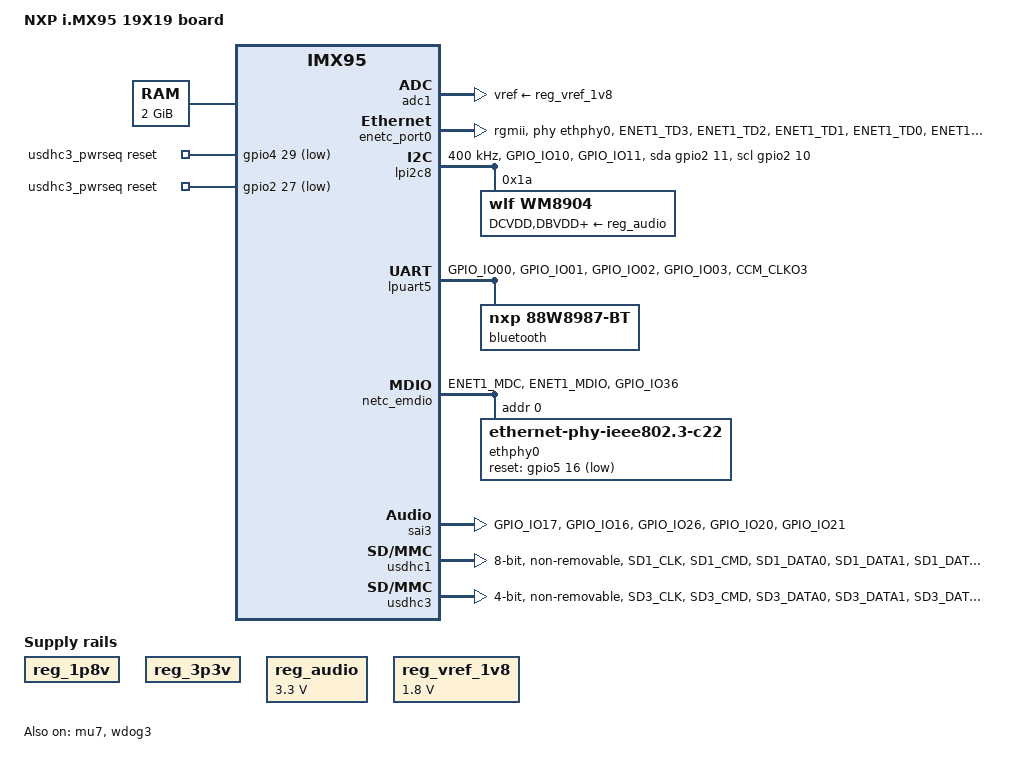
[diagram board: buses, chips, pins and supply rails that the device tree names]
// SPDX-License-Identifier: (GPL-2.0+ OR MIT)
/*
 * Copyright 2023 NXP
 * Copyright 2024 Variscite Ltd.
 */

/dts-v1/;

#include <dt-bindings/phy/phy-imx8-pcie.h>
#include <dt-bindings/usb/pd.h>
#include <dt-bindings/net/mxl-8611x.h>
#include "imx95.dtsi"

#define FALLING_EDGE		BIT(0)
#define RISING_EDGE		BIT(1)

/ {
	model = "NXP i.MX95 19X19 board";
	compatible = "fsl,imx95-19x19-evk", "fsl,imx95";

	cm7: imx95-cm7 {
		compatible = "fsl,imx95-cm7";
		mbox-names = "tx", "rx", "rxdb";
		mboxes = <&mu7 0 1
			  &mu7 1 1
			  &mu7 3 1>;
		memory-region = <&vdevbuffer>, <&vdev0vring0>, <&vdev0vring1>,
				<&vdev1vring0>, <&vdev1vring1>, <&rsc_table>;
		fsl,startup-delay-ms = <50>;
		status = "okay";
	};

	memory@80000000 {
		device_type = "memory";
		reg = <0x0 0x80000000 0 0x80000000>;
	};

	reg_1p8v: regulator-1p8v {
		compatible = "regulator-fixed";
		regulator-name = "+V1.8_SW";
	};

	reg_3p3v: regulator-3p3v {
		compatible = "regulator-fixed";
		regulator-name = "+V3.3_SW";
	};

	reg_audio: regulator-audio-vdd {
		compatible = "regulator-fixed";
		regulator-name = "wm8904_supply";
		regulator-min-microvolt = <3300000>;
		regulator-max-microvolt = <3300000>;
		regulator-always-on;
	};

	reg_vref_1v8: regulator-adc-vref {
		compatible = "regulator-fixed";
		regulator-name = "vref_1v8";
		regulator-min-microvolt = <1800000>;
		regulator-max-microvolt = <1800000>;
	};

	reserved-memory {
		#address-cells = <2>;
		#size-cells = <2>;
		ranges;

		linux_cma: linux,cma {
			compatible = "shared-dma-pool";
			reusable;
			size = <0 0x3c000000>;
			alloc-ranges = <0 0x80000000 0 0x7F000000>;
			linux,cma-default;
		};

		vpu_boot: vpu_boot@a0000000 {
			reg = <0 0xa0000000 0 0x100000>;
			no-map;
		};

		vdev0vring0: vdev0vring0@88000000 {
			reg = <0 0x88000000 0 0x8000>;
			no-map;
		};

		vdev0vring1: vdev0vring1@88008000 {
			reg = <0 0x88008000 0 0x8000>;
			no-map;
		};

		vdev1vring0: vdev1vring0@88010000 {
			reg = <0 0x88010000 0 0x8000>;
			no-map;
		};

		vdev1vring1: vdev1vring1@88018000 {
			reg = <0 0x88018000 0 0x8000>;
			no-map;
		};

		rsc_table: rsc-table@88220000 {
			reg = <0 0x88220000 0 0x1000>;
			no-map;
		};

		vdevbuffer: vdevbuffer@88020000 {
			compatible = "shared-dma-pool";
			reg = <0 0x88020000 0 0x100000>;
			no-map;
		};
	};

	sound-wm8904 {
		compatible = "simple-audio-card";
		simple-audio-card,bitclock-master = <&dailink_master>;
		simple-audio-card,format = "i2s";
		simple-audio-card,frame-master = <&dailink_master>;
		simple-audio-card,name = "wm8904-audio";
		simple-audio-card,routing =
			"Headphone Jack", "HPOUTL",
			"Headphone Jack", "HPOUTR",
			"IN2L", "Line In Jack",
			"IN2R", "Line In Jack",
			"IN1L", "Microphone Jack",
			"IN1R", "Microphone Jack";
		simple-audio-card,widgets =
			"Microphone", "Microphone Jack",
			"Headphone", "Headphone Jack",
			"Line", "Line In Jack";
		simple-audio-card,mclk-fs = <256>;

		dailink_master: simple-audio-card,codec {
			sound-dai = <&wm8904>;
		};

		simple-audio-card,cpu {
			sound-dai = <&sai3>;
		};
	};

	usdhc3_pwrseq: usdhc3_pwrseq {
		compatible = "mmc-pwrseq-simple";
		post-power-on-delay-ms = <100>;
		power-off-delay-us = <10000>;
		reset-gpios = <&gpio4 29 GPIO_ACTIVE_LOW>,	/* WIFI_RESET */
			      <&gpio2 27 GPIO_ACTIVE_LOW>;	/* WIFI_PWR_EN */
		status = "okay";
	};
};

&adc1 {
	vref-supply = <&reg_vref_1v8>;
	status = "okay";
};

&enetc_port0 {
	pinctrl-names = "default";
	pinctrl-0 = <&pinctrl_enetc0>;
	phy-handle = <&ethphy0>;
	phy-mode = "rgmii";
	status = "okay";
};

&lpi2c8 {
	#address-cells = <1>;
	#size-cells = <0>;
	clock-frequency = <400000>;
	pinctrl-names = "default","gpio","sleep";
	pinctrl-0 = <&pinctrl_lpi2c8>;
	pinctrl-1 = <&pinctrl_lpi2c8_gpio>;
	pinctrl-2 = <&pinctrl_lpi2c8_gpio>;
	scl-gpios = <&gpio2 10 GPIO_ACTIVE_HIGH>;
	sda-gpios = <&gpio2 11 GPIO_ACTIVE_HIGH>;
	status = "okay";

	wm8904: codec@1a {
		compatible = "wlf,wm8904";
		#sound-dai-cells = <0>;
		reg = <0x1a>;
		clocks = <&scmi_clk IMX95_CLK_SAI3>;
		clock-names = "mclk";
		DCVDD-supply = <&reg_audio>;
		DBVDD-supply = <&reg_audio>;
		AVDD-supply = <&reg_audio>;
		CPVDD-supply = <&reg_audio>;
		MICVDD-supply = <&reg_audio>;
		num-drc-cfgs = <5>;
		drc-cfg-names = "default", "peaklimiter", "tradition", "soft", "music";
		drc-cfg-regs =
				/* coded default: KNEE_IP = KNEE_OP = 0, HI_COMP = LO_COMP = 1  */
				<0x01af 0x3248 0x0000 0x0000>,
				/* coded default: KNEE_IP = -24, KNEE_OP = -6, HI_COMP = 1/4, LO_COMP = 1 */
				<0x04af 0x324b 0x0010 0x0408>,
				/* coded default: KNEE_IP = -42, KNEE_OP = -3, HI_COMP = 0, LO_COMP = 1 */
				<0x04af 0x324b 0x0028 0x0704>,
				/* coded default: KNEE_IP = -45, KNEE_OP = -9, HI_COMP = 1/8, LO_COMP = 1 */
				<0x04af 0x324b 0x0018 0x078c>,
				/* coded default: KNEE_IP = -30, KNEE_OP = -10.5, HI_COMP = 1/4, LO_COMP = 1 */
				<0x04af 0x324b 0x0010 0x050e>;
		gpio-cfg = <
			0x0018 /* GPIO1 => DMIC_CLK */
			0xffff /* GPIO2 => don't touch */
			0xffff /* GPIO3 => don't touch */
			0xffff /* GPIO4 => don't touch */
		>;
		status = "okay";
	};
};

/* BT */
&lpuart5 {
	pinctrl-names = "default";
	pinctrl-0 = <&pinctrl_uart5>, <&pinctrl_bt>;
	status = "okay";

	bluetooth {
		compatible = "nxp,88w8987-bt";
		status = "okay";
	};
};

&mu7 {
	status = "okay";
};

&netc_emdio {
	pinctrl-names = "default";
	pinctrl-0 = <&pinctrl_emdio>, <&pinctrl_phy0res>;
	status = "okay";

	ethphy0: ethernet-phy@0 {
		reg = <0>;
		compatible = "ethernet-phy-ieee802.3-c22";
		reset-gpios = <&gpio5 16 GPIO_ACTIVE_LOW>;
		reset-assert-us = <10000>;
		reset-deassert-us = <100000>;

		mxl-8611x,led0_cfg = <(
			MXL8611X_LEDX_CFG_LINK_UP_RX_ACT_ON |
			MXL8611X_LEDX_CFG_LINK_UP_TX_ACT_ON |
			MXL8611X_LEDX_CFG_TRAFFIC_ACT_BLINK_IND
		)>;
		mxl-8611x,led1_cfg = <(
			MXL8611X_LEDX_CFG_LINK_UP_10MB_ON |
			MXL8611X_LEDX_CFG_LINK_UP_100MB_ON |
			MXL8611X_LEDX_CFG_LINK_UP_1GB_ON
		)>;
	};
};

&netc_prb_ierb {
	netc-interfaces = <NXP_NETC_RGMII
			   NXP_NETC_RGMII>;
};

&pcie0 {
	status = "disabled";
};

&pcie1 {
	status = "disabled";
};

&sai3 {
	#sound-dai-cells = <0>;
	pinctrl-names = "default";
	pinctrl-0 = <&pinctrl_sai3>;
	assigned-clocks = <&scmi_clk IMX95_CLK_AUDIOPLL1_VCO>,
			  <&scmi_clk IMX95_CLK_AUDIOPLL2_VCO>,
			  <&scmi_clk IMX95_CLK_AUDIOPLL1>,
			  <&scmi_clk IMX95_CLK_AUDIOPLL2>,
			  <&scmi_clk IMX95_CLK_SAI3>;
	assigned-clock-parents = <0>, <0>, <0>, <0>,
				 <&scmi_clk IMX95_CLK_AUDIOPLL1>;
	assigned-clock-rates = <3932160000>,
			       <3612672000>, <393216000>,
			       <361267200>, <12288000>;
	fsl,sai-mclk-direction-output;
	status = "okay";
};

&scmi_iomuxc {
	pinctrl_bt: btgrp {
		fsl,pins = <
			IMX95_PAD_CCM_CLKO3__GPIO4_IO_BIT28				0x31e
		>;
	};

	pinctrl_emdio: emdiogrp{
		fsl,pins = <
			IMX95_PAD_ENET1_MDC__NETCMIX_TOP_NETC_MDC			0x57e
			IMX95_PAD_ENET1_MDIO__NETCMIX_TOP_NETC_MDIO			0x97e
		>;
	};

	pinctrl_phy0res: phy0resgrp{
		fsl,pins = <
			IMX95_PAD_GPIO_IO36__GPIO5_IO_BIT16				0x31e
		>;
	};

	pinctrl_enetc0: enetc0grp {
		fsl,pins = <
			IMX95_PAD_ENET1_TD3__NETCMIX_TOP_ETH0_RGMII_TD3			0x57e
			IMX95_PAD_ENET1_TD2__NETCMIX_TOP_ETH0_RGMII_TD2			0x57e
			IMX95_PAD_ENET1_TD1__NETCMIX_TOP_ETH0_RGMII_TD1			0x57e
			IMX95_PAD_ENET1_TD0__NETCMIX_TOP_ETH0_RGMII_TD0			0x57e
			IMX95_PAD_ENET1_TX_CTL__NETCMIX_TOP_ETH0_RGMII_TX_CTL		0x57e
			IMX95_PAD_ENET1_TXC__NETCMIX_TOP_ETH0_RGMII_TX_CLK		0x58e
			IMX95_PAD_ENET1_RX_CTL__NETCMIX_TOP_ETH0_RGMII_RX_CTL		0x57e
			IMX95_PAD_ENET1_RXC__NETCMIX_TOP_ETH0_RGMII_RX_CLK		0x58e
			IMX95_PAD_ENET1_RD0__NETCMIX_TOP_ETH0_RGMII_RD0			0x57e
			IMX95_PAD_ENET1_RD1__NETCMIX_TOP_ETH0_RGMII_RD1			0x57e
			IMX95_PAD_ENET1_RD2__NETCMIX_TOP_ETH0_RGMII_RD2			0x57e
			IMX95_PAD_ENET1_RD3__NETCMIX_TOP_ETH0_RGMII_RD3			0x57e
		>;
	};

	pinctrl_lpi2c8: lpi2c8grp {
		fsl,pins = <
			IMX95_PAD_GPIO_IO10__LPI2C8_SDA					0x40000b9e
			IMX95_PAD_GPIO_IO11__LPI2C8_SCL					0x40000b9e
		>;
	};

	pinctrl_lpi2c8_gpio: lpi2c8grp-gpio {
		fsl,pins = <
			IMX95_PAD_GPIO_IO10__GPIO2_IO_BIT10				0x31e
			IMX95_PAD_GPIO_IO11__GPIO2_IO_BIT11				0x31e
		>;
	};

	pinctrl_sai3: sai3grp {
		fsl,pins = <
			IMX95_PAD_GPIO_IO17__SAI3_MCLK					0x31e
			IMX95_PAD_GPIO_IO16__SAI3_TX_BCLK				0x31e
			IMX95_PAD_GPIO_IO26__SAI3_TX_SYNC				0x31e
			IMX95_PAD_GPIO_IO20__SAI3_RX_DATA_BIT0				0x31e
			IMX95_PAD_GPIO_IO21__SAI3_TX_DATA_BIT0				0x31e
		>;
	};

	pinctrl_uart5: uart5grp {
		fsl,pins = <
			IMX95_PAD_GPIO_IO00__LPUART5_TX					0x31e
			IMX95_PAD_GPIO_IO01__LPUART5_RX					0x31e
			IMX95_PAD_GPIO_IO02__LPUART5_CTS_B				0x31e
			IMX95_PAD_GPIO_IO03__LPUART5_RTS_B				0x31e
		>;
	};

	pinctrl_usdhc1: usdhc1grp {
		fsl,pins = <
			IMX95_PAD_SD1_CLK__USDHC1_CLK					0x158e
			IMX95_PAD_SD1_CMD__USDHC1_CMD					0x138e
			IMX95_PAD_SD1_DATA0__USDHC1_DATA0				0x138e
			IMX95_PAD_SD1_DATA1__USDHC1_DATA1				0x138e
			IMX95_PAD_SD1_DATA2__USDHC1_DATA2				0x138e
			IMX95_PAD_SD1_DATA3__USDHC1_DATA3				0x138e
			IMX95_PAD_SD1_DATA4__USDHC1_DATA4				0x138e
			IMX95_PAD_SD1_DATA5__USDHC1_DATA5				0x138e
			IMX95_PAD_SD1_DATA6__USDHC1_DATA6				0x138e
			IMX95_PAD_SD1_DATA7__USDHC1_DATA7				0x138e
			IMX95_PAD_SD1_STROBE__USDHC1_STROBE				0x158e
		>;
	};

	pinctrl_usdhc1_100mhz: usdhc1-100mhzgrp {
		fsl,pins = <
			IMX95_PAD_SD1_CLK__USDHC1_CLK					0x158e
			IMX95_PAD_SD1_CMD__USDHC1_CMD					0x138e
			IMX95_PAD_SD1_DATA0__USDHC1_DATA0				0x138e
			IMX95_PAD_SD1_DATA1__USDHC1_DATA1				0x138e
			IMX95_PAD_SD1_DATA2__USDHC1_DATA2				0x138e
			IMX95_PAD_SD1_DATA3__USDHC1_DATA3				0x138e
			IMX95_PAD_SD1_DATA4__USDHC1_DATA4				0x138e
			IMX95_PAD_SD1_DATA5__USDHC1_DATA5				0x138e
			IMX95_PAD_SD1_DATA6__USDHC1_DATA6				0x138e
			IMX95_PAD_SD1_DATA7__USDHC1_DATA7				0x138e
			IMX95_PAD_SD1_STROBE__USDHC1_STROBE				0x158e
		>;
	};

	pinctrl_usdhc1_200mhz: usdhc1-200mhzgrp {
		fsl,pins = <
			IMX95_PAD_SD1_CLK__USDHC1_CLK					0x15fe
			IMX95_PAD_SD1_CMD__USDHC1_CMD					0x13fe
			IMX95_PAD_SD1_DATA0__USDHC1_DATA0				0x13fe
			IMX95_PAD_SD1_DATA1__USDHC1_DATA1				0x13fe
			IMX95_PAD_SD1_DATA2__USDHC1_DATA2				0x13fe
			IMX95_PAD_SD1_DATA3__USDHC1_DATA3				0x13fe
			IMX95_PAD_SD1_DATA4__USDHC1_DATA4				0x13fe
			IMX95_PAD_SD1_DATA5__USDHC1_DATA5				0x13fe
			IMX95_PAD_SD1_DATA6__USDHC1_DATA6				0x13fe
			IMX95_PAD_SD1_DATA7__USDHC1_DATA7				0x13fe
			IMX95_PAD_SD1_STROBE__USDHC1_STROBE				0x15fe
		>;
	};

	pinctrl_usdhc3_gpio: usdhc3gpiogrp {
		fsl,pins = <
			IMX95_PAD_GPIO_IO27__GPIO2_IO_BIT27				0x31e
			IMX95_PAD_CCM_CLKO4__GPIO4_IO_BIT29				0x31e
		>;
	};

	pinctrl_usdhc3: usdhc3grp {
		fsl,pins = <
			IMX95_PAD_SD3_CLK__USDHC3_CLK					0x158e
			IMX95_PAD_SD3_CMD__USDHC3_CMD					0x138e
			IMX95_PAD_SD3_DATA0__USDHC3_DATA0				0x138e
			IMX95_PAD_SD3_DATA1__USDHC3_DATA1				0x138e
			IMX95_PAD_SD3_DATA2__USDHC3_DATA2				0x138e
			IMX95_PAD_SD3_DATA3__USDHC3_DATA3				0x138e
		>;
	};

	pinctrl_usdhc3_100mhz: usdhc3-100mhzgrp {
		fsl,pins = <
			IMX95_PAD_SD3_CLK__USDHC3_CLK					0x158e
			IMX95_PAD_SD3_CMD__USDHC3_CMD					0x138e
			IMX95_PAD_SD3_DATA0__USDHC3_DATA0				0x138e
			IMX95_PAD_SD3_DATA1__USDHC3_DATA1				0x138e
			IMX95_PAD_SD3_DATA2__USDHC3_DATA2				0x138e
			IMX95_PAD_SD3_DATA3__USDHC3_DATA3				0x138e
		>;
	};

	pinctrl_usdhc3_200mhz: usdhc3-200mhzgrp {
		fsl,pins = <
			IMX95_PAD_SD3_CLK__USDHC3_CLK					0x15fe
			IMX95_PAD_SD3_CMD__USDHC3_CMD					0x13fe
			IMX95_PAD_SD3_DATA0__USDHC3_DATA0				0x13fe
			IMX95_PAD_SD3_DATA1__USDHC3_DATA1				0x13fe
			IMX95_PAD_SD3_DATA2__USDHC3_DATA2				0x13fe
			IMX95_PAD_SD3_DATA3__USDHC3_DATA3				0x13fe
		>;
	};
};

&usdhc1 {
	pinctrl-names = "default","state_100mhz","state_200mhz","sleep";
	pinctrl-0 = <&pinctrl_usdhc1>;
	pinctrl-1 = <&pinctrl_usdhc1_100mhz>;
	pinctrl-2 = <&pinctrl_usdhc1_200mhz>;
	pinctrl-3 = <&pinctrl_usdhc1>;
	bus-width = <8>;
	non-removable;
	no-sdio;
	no-sd;
	status = "okay";
};

/* WiFi */
&usdhc3 {
	pinctrl-names = "default","state_100mhz","state_200mhz","sleep";
	pinctrl-0 = <&pinctrl_usdhc3>, <&pinctrl_usdhc3_gpio>;
	pinctrl-1 = <&pinctrl_usdhc3_100mhz>, <&pinctrl_usdhc3_gpio>;
	pinctrl-2 = <&pinctrl_usdhc3_200mhz>, <&pinctrl_usdhc3_gpio>;
	pinctrl-3 = <&pinctrl_usdhc3>, <&pinctrl_usdhc3_gpio>;
	mmc-pwrseq = <&usdhc3_pwrseq>;
	bus-width = <4>;
	non-removable;
	wakeup-source;
	keep-power-in-suspend;
	status = "okay";
};

&vpuctrl {
	boot = <&vpu_boot>;
	sram = <&sram1>;
};

&wdog3 {
	status = "okay";
};
